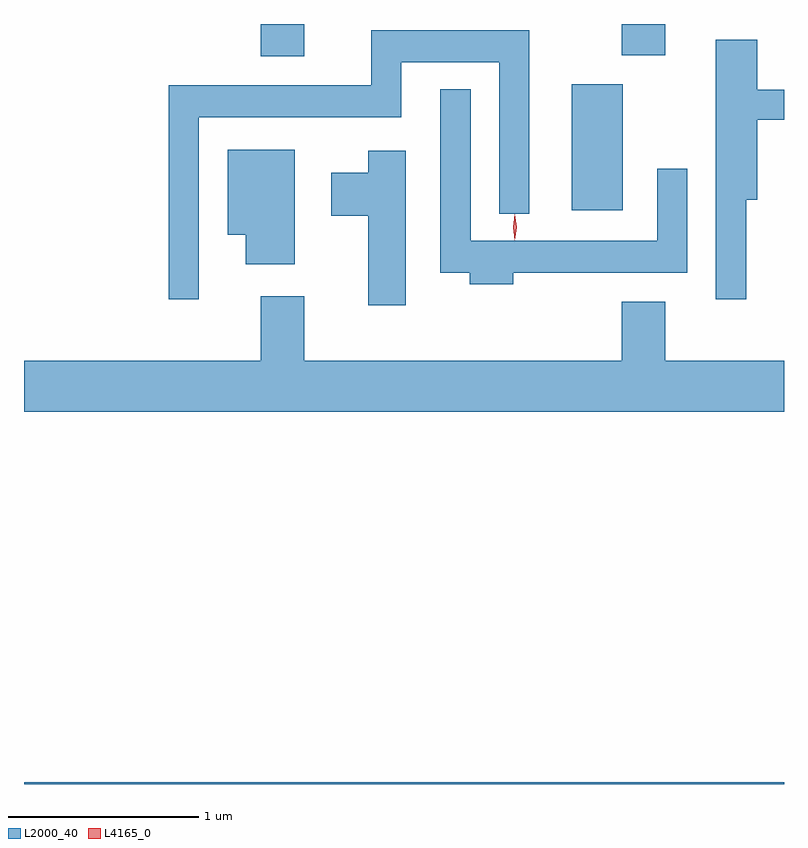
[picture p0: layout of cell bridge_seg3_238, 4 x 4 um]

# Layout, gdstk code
import gdstk
lib = gdstk.Library(unit=1e-6, precision=1e-09)
def R(c, l, rs):  # rectangles x0, y0, x1, y1
    for r in rs: c.add(gdstk.rectangle(r[:2], r[2:], *l))
def P(c, l, *ps):  # polygons
    for p in ps: c.add(gdstk.Polygon(p, *l))
L2000_40 = (2000, 40)
L4165_0 = (4165, 0)

bridge_seg3_238 = lib.new_cell('bridge_seg3_238')
R(bridge_seg3_238, L2000_40, [(985.674,1141.816,989.674,1141.824), (988.556,1144.836,988.824,1145.499), (986.921,1145.646,987.149,1145.816), (988.821,1145.651,989.049,1145.816)])
P(bridge_seg3_238, L2000_40, [(986.594,1145.326),(987.659,1145.326),(987.659,1145.616),(988.176,1145.616),(988.176,1144.818),(988.334,1144.818),(988.334,1145.784),(987.501,1145.784),(987.501,1145.494),(986.436,1145.494),(986.436,1144.368),(986.594,1144.368)],
  [(989.474,1144.891),(989.534,1144.891),(989.534,1145.311),(989.674,1145.311),(989.674,1145.469),(989.534,1145.469),(989.534,1145.734),(989.316,1145.734),(989.316,1144.368),(989.474,1144.368)],
  [(988.249,1144.506),(989.164,1144.506),(989.164,1145.053),(989.006,1145.053),(989.006,1144.674),(988.024,1144.674),(988.024,1145.473),(987.866,1145.473),(987.866,1144.506),(988.021,1144.506),(988.021,1144.446),(988.249,1144.446)],
  [(987.099,1145.154),(986.746,1145.154),(986.746,1144.706),(986.841,1144.706),(986.841,1144.551),(987.099,1144.551)],
  [(987.684,1145.149),(987.486,1145.149),(987.486,1145.034),(987.291,1145.034),(987.291,1144.806),(987.486,1144.806),(987.486,1144.336),(987.684,1144.336)],
  [(989.674,1144.044),(989.049,1144.044),(989.049,1144.354),(988.821,1144.354),(988.821,1144.044),(987.149,1144.044),(987.149,1144.384),(986.921,1144.384),(986.921,1144.044),(985.674,1144.044),(985.674,1143.776),(989.674,1143.776)])
P(bridge_seg3_238, L4165_0, [(988.258,1144.679),(988.257,1144.68),(988.248,1144.746),(988.257,1144.812),(988.258,1144.813),(988.258,1144.812),(988.268,1144.746),(988.258,1144.68)],
  [(988.257,1144.677),(988.248,1144.747),(988.257,1144.816),(988.258,1144.816),(988.258,1144.816),(988.268,1144.747),(988.258,1144.677),(988.258,1144.677)])

lib.write_gds('bridge_seg3_238.gds')
